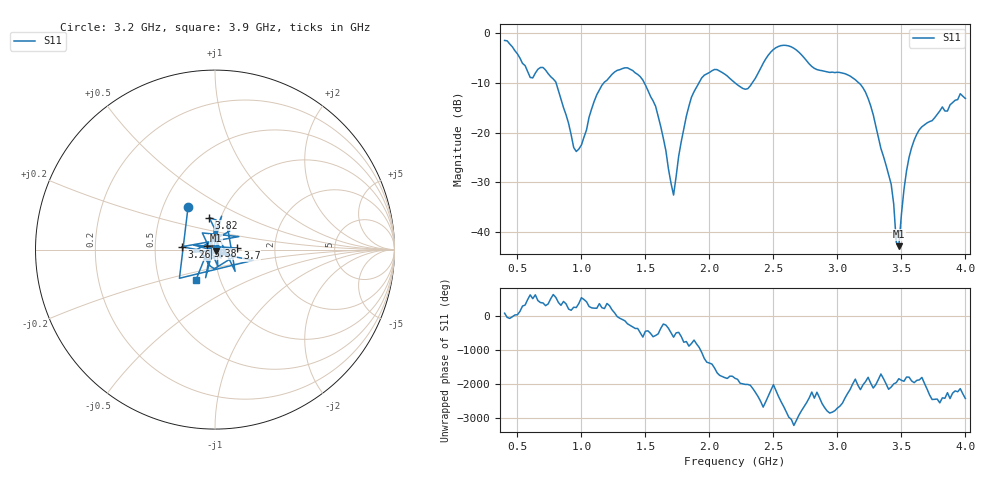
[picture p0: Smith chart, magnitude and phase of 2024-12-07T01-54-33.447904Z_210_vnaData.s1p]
!Created with skrf (http://scikit-rf.org).
# Hz S RI R 50.0
!freq ReS11 ImS11
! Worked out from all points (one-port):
!   181 points, 400 MHz to 4 GHz, reference 50 ohm
!   lowest |S11| = -42.8 dB at 3.48 GHz (marker M1), VSWR 1.01, Z = 50.4 - j0.607 ohm
!   |S11| at or under -10 dB: 802.2 MHz to 1.175 GHz (372.9 MHz wide, 37.7 % of centre); 1.491 GHz to 1.918 GHz (426.1 MHz wide, 25 % of centre); 3.167 GHz to end of sweep (the widest 3 of 4)
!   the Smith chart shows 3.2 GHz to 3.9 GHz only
!   S11 on the Smith chart (normalised r, x): 3.2 GHz: 0.67, +0.35; 3.26 GHz: 0.69, +0.02; 3.38 GHz: 0.92, +0.04; 3.7 GHz: 1.29, +0.02; 3.82 GHz: 0.88, +0.33; 3.9 GHz: 0.77, -0.27
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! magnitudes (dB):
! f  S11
! 400 MHz  -1.5
! 600 MHz  -8.9
! 720 MHz  -7.4
! 860 MHz  -14.9
! 960 MHz  -23.8
! 1.12 GHz  -12.4
! 1.3 GHz  -7.3
! 1.46 GHz  -8.8
! 1.58 GHz  -14.7
! 1.72 GHz  -32.5
! 1.76 GHz  -24.7
! 1.86 GHz  -12.9
! 1.94 GHz  -9.0
! 2.2 GHz  -10.0
! 2.3 GHz  -11.2
! 2.66 GHz  -3.1
! 3.1 GHz  -8.6
! 3.2 GHz  -11.0
! 3.26 GHz  -14.6
! 3.38 GHz  -26.5
! 3.42 GHz  -30.3
! 3.46 GHz  -42.0
! 3.48 GHz  -42.8
! 3.56 GHz  -24.9
! 3.7 GHz  -18.1
! 3.82 GHz  -14.8
! 3.9 GHz  -14.0
! 4 GHz  -13.1
